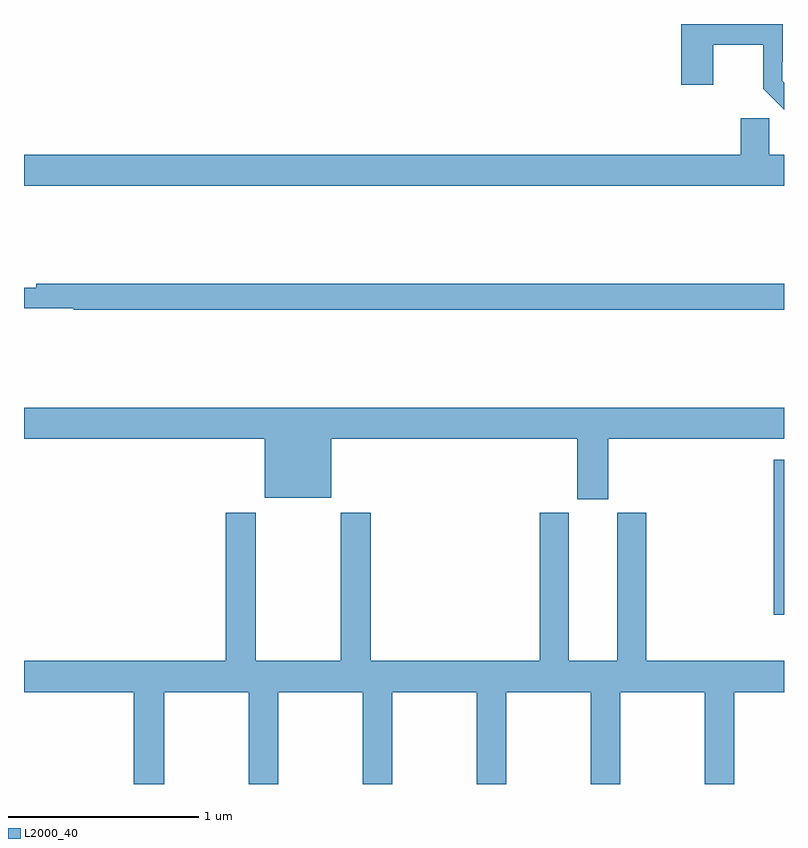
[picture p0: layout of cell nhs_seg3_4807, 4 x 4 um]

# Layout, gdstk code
import gdstk
lib = gdstk.Library(unit=1e-6, precision=1e-09)
def R(c, l, rs):  # rectangles x0, y0, x1, y1
    for r in rs: c.add(gdstk.rectangle(r[:2], r[2:], *l))
def P(c, l, *ps):  # polygons
    for p in ps: c.add(gdstk.Polygon(p, *l))
L2000_40 = (2000, 40)

nhs_seg3_4807 = lib.new_cell('nhs_seg3_4807')
R(nhs_seg3_4807, L2000_40, [(372.946,733.29,373,734.107)])
P(nhs_seg3_4807, L2000_40, [(373,736.091),(372.99,736.101),(372.99,736.201),(372.993,736.201),(372.993,736.4),(372.458,736.4),(372.458,736.08),(372.628,736.08),(372.628,736.292),(372.89,736.292),(372.89,736.058),(373,735.948)],
  [(373,735.712),(372.923,735.712),(372.923,735.903),(372.773,735.903),(372.773,735.712),(369,735.712),(369,735.548),(373,735.548)],
  [(373,735.032),(369.064,735.032),(369.064,735.013),(369,735.013),(369,734.904),(369.262,734.904),(369.262,734.896),(373,734.896)],
  [(372.076,734.216),(373,734.216),(373,734.38),(369,734.38),(369,734.216),(370.268,734.216),(370.268,733.907),(370.618,733.907),(370.618,734.216),(371.912,734.216),(371.912,733.899),(372.076,733.899)],
  [(369.738,732.884),(370.183,732.884),(370.183,732.4),(370.338,732.4),(370.338,732.884),(370.783,732.884),(370.783,732.4),(370.938,732.4),(370.938,732.884),(371.383,732.884),(371.383,732.4),(371.538,732.4),(371.538,732.884),(371.983,732.884),(371.983,732.4),(372.138,732.4),(372.138,732.884),(372.583,732.884),(372.583,732.4),(372.738,732.4),(372.738,732.884),(373,732.884),(373,733.048),(372.275,733.048),(372.275,733.827),(372.122,733.827),(372.122,733.048),(371.866,733.048),(371.866,733.827),(371.714,733.827),(371.714,733.048),(370.826,733.048),(370.826,733.828),(370.666,733.828),(370.666,733.048),(370.221,733.048),(370.221,733.828),(370.061,733.828),(370.061,733.048),(369,733.048),(369,732.884),(369.578,732.884),(369.578,732.4),(369.738,732.4)])

lib.write_gds('nhs_seg3_4807.gds')
